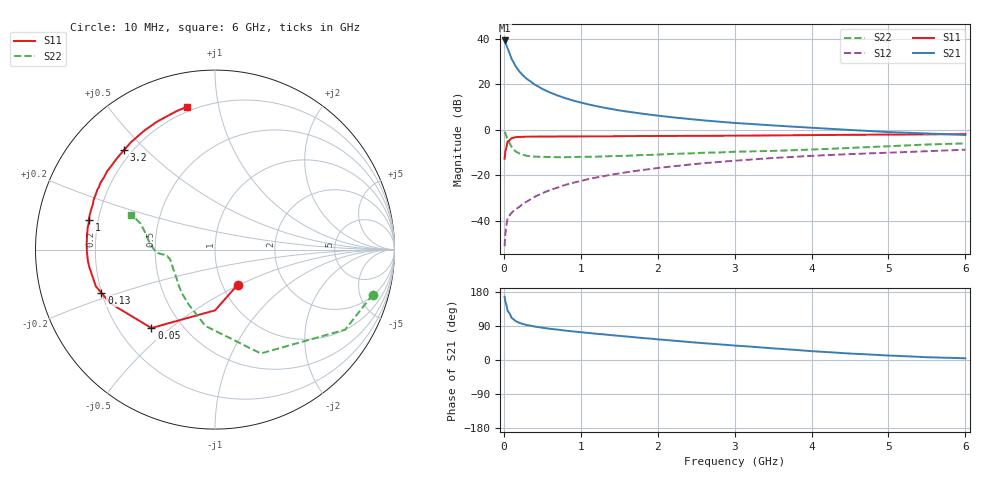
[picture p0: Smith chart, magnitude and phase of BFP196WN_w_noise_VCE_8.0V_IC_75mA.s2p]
! Infineon Technologies  Discrete & RF Semiconductors
! BFP196WN
! VCE =  8.0 V,  IC =  75 mA
! Common Emitter S-Parameters:  Jan 2017
# GHz  S  MA  R  50
!  f  S11  S21  S12  S22
! GHz  MAG  ANG  MAG  ANG  MAG  ANG  MAG  ANG
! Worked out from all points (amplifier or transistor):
!   77 points, 10 MHz to 6 GHz, reference 50 ohm
!   highest |S21| = 39.3 dB at 10 MHz (marker M1)
!   |S21| within 3 dB of that: start of sweep to 42.57 MHz
!   unconditionally stable (mu >= 1): 581.5 MHz to 2.613 GHz
!   at 130 MHz: K = 0.61, MSG = 32.5 dB, |S12| = -35.5 dB
!   at 2.2 GHz: K = 1.02, MAG = 10.0 dB, |S12| = -16.0 dB
!   at 6 GHz: K = 0.90, MSG = 3.2 dB, |S12| = -8.7 dB
!   lowest NFmin = 1.53 dB at 450 MHz
!   S11 on the Smith chart (normalised r, x): 10 MHz: 1.18, -0.49; 50 MHz: 0.34, -0.43; 130 MHz: 0.20, -0.18; 1 GHz: 0.16, +0.11; 3.2 GHz: 0.17, +0.43; 6 GHz: 0.17, +0.81
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0.01  0.2329 -57.0  92.36 166.9  0.0028 77.2  0.9141 -15.9
0.02  0.3383 -89.9  84.16 154.1  0.0053 72.6  0.8514 -31.6
0.05  0.5627 -129.0  60.83 129.2  0.0116 55.7  0.6324 -66.2
0.1  0.6564 -153.0  36.41 111.2  0.0151 51.3  0.4285 -97.2
0.13  0.6769 -159.1  29.82 107.0  0.0168 51.7  0.3715 -106.9
0.15  0.6946 -162.9  25.55 103.1  0.018 51.9  0.3411 -115.1
0.2  0.7 -168.6  19.44 98.2  0.0203 56.7  0.3052 -127.2
0.25  0.7075 -172.2  15.69 94.8  0.0242 59.5  0.285 -135.0
0.3  0.7109 -175.1  13.15 92.3  0.0267 61.5  0.2701 -141.6
0.4  0.714 -179.3  9.94 88.2  0.0338 65.7  0.2593 -149.6
0.5  0.7158 177.5  7.963 85.1  0.0408 67.5  0.2564 -155.2
0.6  0.7164 174.9  6.656 82.4  0.0479 68.9  0.2543 -159.3
0.8  0.7195 170.3  4.989 77.5  0.0622 70.7  0.2523 -163.9
1  0.7223 166.6  3.998 73.4  0.0756 70.3  0.256 -167.3
1.1  0.7239 164.8  3.638 71.4  0.0832 69.9  0.2574 -168.6
1.5  0.7305 158.0  2.69 63.7  0.1109 68.0  0.2681 -172.2
2.1  0.7377 148.6  1.976 52.9  0.1523 64.2  0.2929 -174.8
3.1  0.7494 133.7  1.391 36.8  0.2169 56.1  0.3347 -179.1
3.2  0.7513 132.3  1.356 35.4  0.2231 55.2  0.3376 -179.8
4.1  0.7727 119.4  1.093 22.2  0.2745 47.4  0.3768 171.4
5.1  0.792 108.7  0.885 11.0  0.3213 39.8  0.4463 160.3
6  0.8112 100.9  0.775 4.5  0.3685 33.7  0.5063 157.7
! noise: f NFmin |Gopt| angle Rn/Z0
0.45  1.53  0.57  -176  0.05
0.9  1.66  0.59  -169  0.06
1.9  2.6  0.7  -147  0.2
2.4  3.41  0.71  -138  0.33
